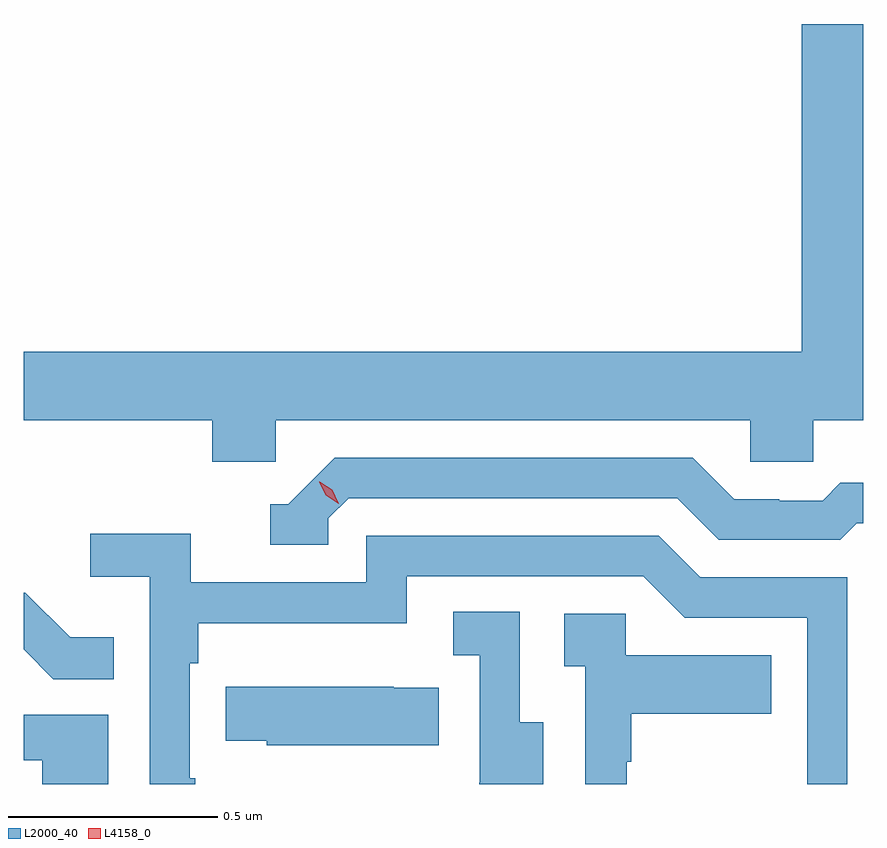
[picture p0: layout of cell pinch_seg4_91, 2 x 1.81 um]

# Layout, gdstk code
import gdstk
lib = gdstk.Library(unit=1e-6, precision=1e-09)
def P(c, l, *ps):  # polygons
    for p in ps: c.add(gdstk.Polygon(p, *l))
L2000_40 = (2000, 40)
L4158_0 = (4158, 0)

pinch_seg4_91 = lib.new_cell('pinch_seg4_91')
P(pinch_seg4_91, L2000_40, [(1072.548,828.788),(1073.679,828.788),(1073.679,828.69),(1073.829,828.69),(1073.829,828.788),(1073.948,828.788),(1073.948,829.732),(1073.801,829.732),(1073.801,828.952),(1071.948,828.952),(1071.948,828.788),(1072.397,828.788),(1072.397,828.69),(1072.548,828.69)],
  [(1072.674,828.555),(1072.722,828.603),(1073.505,828.603),(1073.604,828.504),(1073.893,828.504),(1073.932,828.543),(1073.948,828.543),(1073.948,828.64),(1073.893,828.64),(1073.851,828.597),(1073.748,828.597),(1073.748,828.6),(1073.641,828.6),(1073.542,828.699),(1072.689,828.699),(1072.578,828.588),(1072.535,828.588),(1072.535,828.492),(1072.674,828.492)],
  [(1072.357,827.936),(1072.344,827.936),(1072.344,828.209),(1072.364,828.209),(1072.364,828.305),(1072.86,828.305),(1072.86,828.417),(1073.424,828.417),(1073.523,828.318),(1073.814,828.318),(1073.814,827.922),(1073.91,827.922),(1073.91,828.414),(1073.56,828.414),(1073.461,828.513),(1072.764,828.513),(1072.764,828.402),(1072.346,828.402),(1072.346,828.518),(1072.107,828.518),(1072.107,828.416),(1072.248,828.416),(1072.248,827.922),(1072.357,827.922)],
  [(1072.163,828.271),(1072.059,828.271),(1071.952,828.378),(1071.948,828.378),(1071.948,828.243),(1072.019,828.172),(1072.163,828.172)],
  [(1073.185,828.069),(1073.13,828.069),(1073.13,828.332),(1072.971,828.332),(1072.971,828.229),(1073.034,828.229),(1073.034,827.925),(1073.033,827.925),(1073.033,827.922),(1073.185,827.922)],
  [(1073.385,827.975),(1073.395,827.975),(1073.395,828.089),(1073.729,828.089),(1073.729,828.229),(1073.382,828.229),(1073.382,828.327),(1073.235,828.327),(1073.235,828.203),(1073.286,828.203),(1073.286,827.922),(1073.385,827.922)],
  [(1072.937,828.151),(1072.829,828.151),(1072.829,828.154),(1072.429,828.154),(1072.429,828.025),(1072.527,828.025),(1072.527,828.014),(1072.937,828.014)],
  [(1072.15,828.087),(1071.948,828.087),(1071.948,827.979),(1071.992,827.979),(1071.992,827.922),(1072.15,827.922)])
P(pinch_seg4_91, L4158_0, [(1072.699,828.59),(1072.668,828.61),(1072.652,828.642),(1072.652,828.642),(1072.653,828.642),(1072.683,828.623),(1072.699,828.59),(1072.699,828.59)])

lib.write_gds('pinch_seg4_91.gds')
